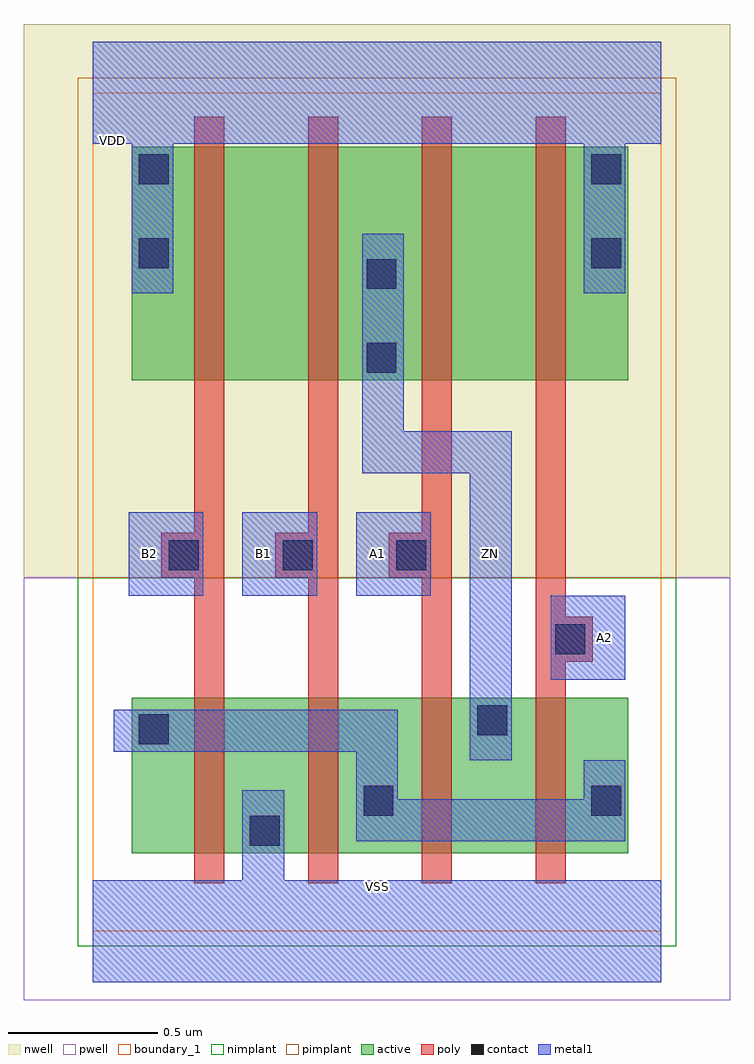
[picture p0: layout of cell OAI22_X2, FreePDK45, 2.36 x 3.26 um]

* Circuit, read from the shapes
.subckt OAI22_X2 A1 A2 B1 B2 VDD VSS ZN
M1 VSS B2 n1 VSUBS nfet w=0.52u l=0.1u
M2 n1 B1 VSS VSUBS nfet w=0.52u l=0.1u
M3 ZN A1 n1 VSUBS nfet w=0.52u l=0.1u
M4 n1 A2 ZN VSUBS nfet w=0.52u l=0.1u
M5 n2 B2 VDD n3 pfet w=0.78u l=0.1u
M6 ZN B1 n2 n3 pfet w=0.78u l=0.1u
M7 n4 A1 ZN n3 pfet w=0.78u l=0.1u
M8 VDD A2 n4 n3 pfet w=0.78u l=0.1u
.ends

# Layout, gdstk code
import gdstk
lib = gdstk.Library(unit=1e-6, precision=1e-09)
def R(c, l, rs):  # rectangles x0, y0, x1, y1
    for r in rs: c.add(gdstk.rectangle(r[:2], r[2:], *l))
def A(c, l, x, y, w, h, nx, ny, dx, dy):  # array of equal rectangles
    R(c, l, [(x+i*dx, y+j*dy, x+i*dx+w, y+j*dy+h) for i in range(nx) for j in range(ny)])
def P(c, l, *ps):  # polygons
    for p in ps: c.add(gdstk.Polygon(p, *l))
active = (1, 0)
pwell = (2, 0)
nwell = (3, 0)
nimplant = (4, 0)
pimplant = (5, 0)
poly = (9, 0)
contact = (10, 0)
metal1 = (11, 0)
boundary_1 = (235, 1)

oai22_x2 = lib.new_cell('OAI22_X2')
R(oai22_x2, active, [(0.13,0.26,1.79,0.78), (0.13,1.84,1.79,2.62)])
R(oai22_x2, pwell, [(-0.23,-0.23,2.13,1.18)])
R(oai22_x2, nwell, [(-0.23,1.18,2.13,3.03)])
R(oai22_x2, nimplant, [(-0.05,-0.05,1.95,1.18)])
R(oai22_x2, pimplant, [(-0.05,1.18,1.95,2.85)])
P(oai22_x2, poly, [(1.48,0.16),(1.58,0.16),(1.58,0.9),(1.67,0.9),(1.67,1.05),(1.58,1.05),(1.58,2.72),(1.48,2.72)],
  [(0.99,1.18),(1.1,1.18),(1.1,0.16),(1.2,0.16),(1.2,2.72),(1.1,2.72),(1.1,1.33),(0.99,1.33)],
  [(0.61,1.18),(0.72,1.18),(0.72,0.16),(0.82,0.16),(0.82,2.72),(0.72,2.72),(0.72,1.33),(0.61,1.33)],
  [(0.23,1.18),(0.34,1.18),(0.34,0.16),(0.44,0.16),(0.44,2.72),(0.34,2.72),(0.34,1.33),(0.23,1.33)])
A(oai22_x2, contact, 0.255, 1.205, 0.1, 0.1, 3, 1, 0.38, 0)
R(oai22_x2, contact, [(0.525,0.285,0.625,0.385), (0.905,0.385,1.005,0.485), (1.665,0.385,1.765,0.485), (0.155,0.625,0.255,0.725), (1.285,0.655,1.385,0.755), (1.545,0.925,1.645,1.025), (0.915,1.865,1.015,1.965), (0.915,2.145,1.015,2.245), (0.155,2.215,0.255,2.315), (1.665,2.215,1.765,2.315), (0.155,2.495,0.255,2.595), (1.665,2.495,1.765,2.595)])
R(oai22_x2, metal1, [(1.53,0.84,1.78,1.12), (1.53,0.84,1.78,1.12), (0.12,1.12,0.37,1.4), (0.12,1.12,0.37,1.4), (0.5,1.12,0.75,1.4), (0.5,1.12,0.75,1.4), (0.88,1.12,1.13,1.4), (0.88,1.12,1.13,1.4)])
P(oai22_x2, metal1, [(0.9,1.53),(1.26,1.53),(1.26,0.57),(1.4,0.57),(1.4,1.67),(1.04,1.67),(1.04,2.33),(0.9,2.33)],
  [(0,-0.17),(1.9,-0.17),(1.9,0.17),(0.64,0.17),(0.64,0.47),(0.5,0.47),(0.5,0.17),(0,0.17)],
  [(0,2.63),(0.13,2.63),(0.13,2.13),(0.27,2.13),(0.27,2.63),(1.64,2.63),(1.64,2.13),(1.78,2.13),(1.78,2.63),(1.9,2.63),(1.9,2.97),(0,2.97)],
  [(0,2.63),(0.13,2.63),(0.13,2.13),(0.27,2.13),(0.27,2.63),(1.64,2.63),(1.64,2.13),(1.78,2.13),(1.78,2.63),(1.9,2.63),(1.9,2.97),(0,2.97)],
  [(0,-0.17),(1.9,-0.17),(1.9,0.17),(0.64,0.17),(0.64,0.47),(0.5,0.47),(0.5,0.17),(0,0.17)],
  [(0.07,0.6),(0.88,0.6),(0.88,0.3),(1.78,0.3),(1.78,0.57),(1.64,0.57),(1.64,0.44),(1.02,0.44),(1.02,0.74),(0.07,0.74)],
  [(0.9,1.53),(1.26,1.53),(1.26,0.57),(1.4,0.57),(1.4,1.67),(1.04,1.67),(1.04,2.33),(0.9,2.33)])
R(oai22_x2, boundary_1, [(0,0,1.9,2.8)])
oai22_x2.add(gdstk.Label('ZN', (1.33,1.26), layer=11, texttype=0))
oai22_x2.add(gdstk.Label('VSS', (0.95,0.15), layer=11, texttype=0))
oai22_x2.add(gdstk.Label('VDD', (0.065,2.64), layer=11, texttype=0))
oai22_x2.add(gdstk.Label('B2', (0.19,1.26), layer=11, texttype=0))
oai22_x2.add(gdstk.Label('B1', (0.57,1.26), layer=11, texttype=0))
oai22_x2.add(gdstk.Label('A2', (1.71,0.98), layer=11, texttype=0))
oai22_x2.add(gdstk.Label('A1', (0.95,1.26), layer=11, texttype=0))

lib.write_gds('OAI22_X2.gds')
